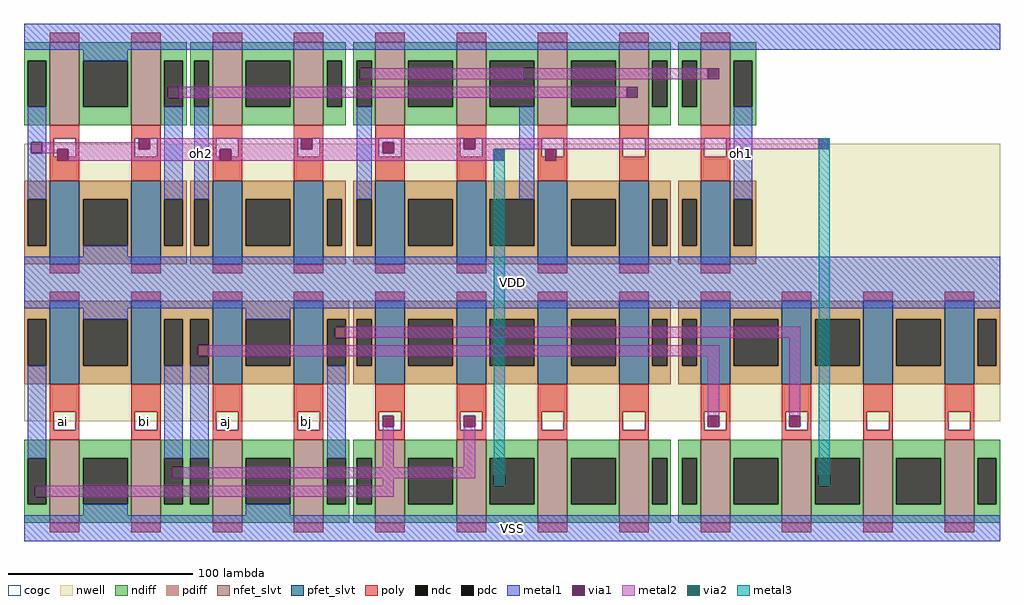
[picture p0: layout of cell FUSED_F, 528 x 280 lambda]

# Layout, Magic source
magic
tech asap5
<< nwell >>
rect 0 65 528 215
<< poly >>
rect 14 270 30 275
rect 58 270 74 275
rect 102 270 118 275
rect 146 270 162 275
rect 190 270 206 275
rect 234 270 250 275
rect 278 270 294 275
rect 322 270 338 275
rect 366 270 382 275
rect 14 218 30 225
rect 14 208 16 218
rect 18 208 24 212
rect 28 208 30 218
rect 14 195 30 208
rect 58 218 74 225
rect 58 208 60 218
rect 62 212 68 218
rect 72 208 74 218
rect 58 195 74 208
rect 102 218 118 225
rect 102 208 104 218
rect 106 208 112 212
rect 116 208 118 218
rect 102 195 118 208
rect 146 218 162 225
rect 146 208 148 218
rect 150 212 156 218
rect 160 208 162 218
rect 146 195 162 208
rect 190 218 206 225
rect 190 208 192 218
rect 194 210 200 216
rect 204 208 206 218
rect 190 195 206 208
rect 234 218 250 225
rect 234 208 236 218
rect 238 212 244 218
rect 248 208 250 218
rect 234 195 250 208
rect 278 218 294 225
rect 278 208 280 218
rect 282 208 288 212
rect 292 208 294 218
rect 278 195 294 208
rect 322 218 338 225
rect 322 208 324 218
rect 336 208 338 218
rect 322 195 338 208
rect 366 218 382 225
rect 366 208 368 218
rect 380 208 382 218
rect 366 195 382 208
rect 14 145 30 150
rect 58 145 74 150
rect 102 145 118 150
rect 146 145 162 150
rect 190 145 206 150
rect 234 145 250 150
rect 278 145 294 150
rect 322 145 338 150
rect 366 145 382 150
rect 14 130 30 135
rect 58 130 74 135
rect 102 130 118 135
rect 146 130 162 135
rect 190 130 206 135
rect 234 130 250 135
rect 278 130 294 135
rect 322 130 338 135
rect 366 130 382 135
rect 410 130 426 135
rect 454 130 470 135
rect 498 130 514 135
rect 14 70 30 85
rect 14 60 16 70
rect 28 60 30 70
rect 14 55 30 60
rect 58 70 74 85
rect 58 60 60 70
rect 72 60 74 70
rect 58 55 74 60
rect 102 70 118 85
rect 102 60 104 70
rect 116 60 118 70
rect 102 55 118 60
rect 146 70 162 85
rect 146 60 148 70
rect 160 60 162 70
rect 146 55 162 60
rect 190 70 206 85
rect 190 60 192 70
rect 194 62 200 68
rect 204 60 206 70
rect 190 55 206 60
rect 234 70 250 85
rect 234 60 236 70
rect 238 62 244 68
rect 248 60 250 70
rect 234 55 250 60
rect 278 70 294 85
rect 278 60 280 70
rect 292 60 294 70
rect 278 55 294 60
rect 322 70 338 85
rect 322 60 324 70
rect 336 60 338 70
rect 322 55 338 60
rect 366 70 382 85
rect 366 60 368 70
rect 370 62 376 68
rect 380 60 382 70
rect 366 55 382 60
rect 410 70 426 85
rect 410 60 412 70
rect 414 62 420 68
rect 424 60 426 70
rect 410 55 426 60
rect 454 70 470 85
rect 454 60 456 70
rect 468 60 470 70
rect 454 55 470 60
rect 498 70 514 85
rect 498 60 500 70
rect 512 60 514 70
rect 498 55 514 60
rect 14 5 30 10
rect 58 5 74 10
rect 102 5 118 10
rect 146 5 162 10
rect 190 5 206 10
rect 234 5 250 10
rect 278 5 294 10
rect 322 5 338 10
rect 366 5 382 10
rect 410 5 426 10
rect 454 5 470 10
rect 498 5 514 10
<< ndiff >>
rect 0 260 14 270
rect 0 235 2 260
rect 12 235 14 260
rect 0 225 14 235
rect 30 260 58 270
rect 30 235 32 260
rect 56 235 58 260
rect 30 225 58 235
rect 74 260 88 270
rect 74 235 76 260
rect 78 240 84 246
rect 86 235 88 260
rect 74 225 88 235
rect 90 260 102 270
rect 90 235 92 260
rect 100 235 102 260
rect 90 225 102 235
rect 118 260 146 270
rect 118 235 120 260
rect 144 235 146 260
rect 118 225 146 235
rect 162 260 174 270
rect 162 235 164 260
rect 172 235 174 260
rect 162 225 174 235
rect 178 260 190 270
rect 178 235 180 260
rect 188 256 190 260
rect 182 250 190 256
rect 188 235 190 250
rect 178 225 190 235
rect 206 260 234 270
rect 206 235 208 260
rect 232 235 234 260
rect 206 225 234 235
rect 250 260 278 270
rect 250 235 252 260
rect 276 256 278 260
rect 270 250 278 256
rect 276 235 278 250
rect 250 225 278 235
rect 294 260 322 270
rect 294 235 296 260
rect 320 235 322 260
rect 294 225 322 235
rect 338 260 350 270
rect 338 235 340 260
rect 348 235 350 260
rect 338 225 350 235
rect 354 260 366 270
rect 354 235 356 260
rect 364 235 366 260
rect 354 225 366 235
rect 382 260 396 270
rect 382 235 384 260
rect 394 235 396 260
rect 382 225 396 235
rect 0 45 14 55
rect 0 20 2 45
rect 12 30 14 45
rect 6 24 14 30
rect 12 20 14 24
rect 0 10 14 20
rect 30 45 58 55
rect 30 20 32 45
rect 56 20 58 45
rect 30 10 58 20
rect 74 45 102 55
rect 74 20 76 45
rect 86 40 90 45
rect 80 34 90 40
rect 86 20 90 34
rect 100 20 102 45
rect 74 10 102 20
rect 118 45 146 55
rect 118 20 120 45
rect 144 20 146 45
rect 118 10 146 20
rect 162 45 176 55
rect 162 20 164 45
rect 174 20 176 45
rect 162 10 176 20
rect 178 45 190 55
rect 178 20 180 45
rect 188 20 190 45
rect 178 10 190 20
rect 206 45 234 55
rect 206 20 208 45
rect 232 20 234 45
rect 206 10 234 20
rect 250 45 278 55
rect 250 20 252 45
rect 254 30 260 36
rect 276 20 278 45
rect 250 10 278 20
rect 294 45 322 55
rect 294 20 296 45
rect 320 20 322 45
rect 294 10 322 20
rect 338 45 350 55
rect 338 20 340 45
rect 348 20 350 45
rect 338 10 350 20
rect 354 45 366 55
rect 354 20 356 45
rect 364 20 366 45
rect 354 10 366 20
rect 382 45 410 55
rect 382 20 384 45
rect 408 20 410 45
rect 382 10 410 20
rect 426 45 454 55
rect 426 20 428 45
rect 430 30 436 36
rect 452 20 454 45
rect 426 10 454 20
rect 470 45 498 55
rect 470 20 472 45
rect 496 20 498 45
rect 470 10 498 20
rect 514 45 528 55
rect 514 20 516 45
rect 526 20 528 45
rect 514 10 528 20
<< pdiff >>
rect 0 185 14 195
rect 0 160 2 185
rect 12 160 14 185
rect 0 150 14 160
rect 30 185 58 195
rect 30 160 32 185
rect 56 160 58 185
rect 30 150 58 160
rect 74 185 88 195
rect 74 160 76 185
rect 86 160 88 185
rect 74 150 88 160
rect 90 185 102 195
rect 90 160 92 185
rect 100 160 102 185
rect 90 150 102 160
rect 118 185 146 195
rect 118 160 120 185
rect 144 160 146 185
rect 118 150 146 160
rect 162 185 174 195
rect 162 160 164 185
rect 172 160 174 185
rect 162 150 174 160
rect 178 185 190 195
rect 178 160 180 185
rect 188 160 190 185
rect 178 150 190 160
rect 206 185 234 195
rect 206 160 208 185
rect 232 160 234 185
rect 206 150 234 160
rect 250 185 278 195
rect 250 160 252 185
rect 276 160 278 185
rect 250 150 278 160
rect 294 185 322 195
rect 294 160 296 185
rect 320 160 322 185
rect 294 150 322 160
rect 338 185 350 195
rect 338 160 340 185
rect 348 160 350 185
rect 338 150 350 160
rect 354 185 366 195
rect 354 160 356 185
rect 364 160 366 185
rect 354 150 366 160
rect 382 185 396 195
rect 382 160 384 185
rect 394 160 396 185
rect 382 150 396 160
rect 0 120 14 130
rect 0 95 2 120
rect 12 95 14 120
rect 0 85 14 95
rect 30 120 58 130
rect 30 95 32 120
rect 56 95 58 120
rect 30 85 58 95
rect 74 120 102 130
rect 74 95 76 120
rect 86 95 90 120
rect 100 106 102 120
rect 94 100 102 106
rect 100 95 102 100
rect 74 85 102 95
rect 118 120 146 130
rect 118 95 120 120
rect 144 95 146 120
rect 118 85 146 95
rect 162 120 176 130
rect 162 95 164 120
rect 174 116 176 120
rect 168 110 176 116
rect 174 95 176 110
rect 162 85 176 95
rect 178 120 190 130
rect 178 95 180 120
rect 188 95 190 120
rect 178 85 190 95
rect 206 120 234 130
rect 206 95 208 120
rect 232 95 234 120
rect 206 85 234 95
rect 250 120 278 130
rect 250 95 252 120
rect 276 95 278 120
rect 250 85 278 95
rect 294 120 322 130
rect 294 95 296 120
rect 320 95 322 120
rect 294 85 322 95
rect 338 120 350 130
rect 338 95 340 120
rect 348 95 350 120
rect 338 85 350 95
rect 354 120 366 130
rect 354 95 356 120
rect 364 95 366 120
rect 354 85 366 95
rect 382 120 410 130
rect 382 95 384 120
rect 408 95 410 120
rect 382 85 410 95
rect 426 120 454 130
rect 426 95 428 120
rect 452 95 454 120
rect 426 85 454 95
rect 470 120 498 130
rect 470 95 472 120
rect 496 95 498 120
rect 470 85 498 95
rect 514 120 528 130
rect 514 95 516 120
rect 526 95 528 120
rect 514 85 528 95
<< nfet_slvt >>
rect 14 225 30 270
rect 58 225 74 270
rect 102 225 118 270
rect 146 225 162 270
rect 190 225 206 270
rect 234 225 250 270
rect 278 225 294 270
rect 322 225 338 270
rect 366 225 382 270
rect 14 10 30 55
rect 58 10 74 55
rect 102 10 118 55
rect 146 10 162 55
rect 190 10 206 55
rect 234 10 250 55
rect 278 10 294 55
rect 322 10 338 55
rect 366 10 382 55
rect 410 10 426 55
rect 454 10 470 55
rect 498 10 514 55
<< pfet_slvt >>
rect 14 150 30 195
rect 58 150 74 195
rect 102 150 118 195
rect 146 150 162 195
rect 190 150 206 195
rect 234 150 250 195
rect 278 150 294 195
rect 322 150 338 195
rect 366 150 382 195
rect 14 85 30 130
rect 58 85 74 130
rect 102 85 118 130
rect 146 85 162 130
rect 190 85 206 130
rect 234 85 250 130
rect 278 85 294 130
rect 322 85 338 130
rect 366 85 382 130
rect 410 85 426 130
rect 454 85 470 130
rect 498 85 514 130
<< metal1 >>
rect 0 266 528 280
rect 32 260 56 266
rect 2 216 12 235
rect 2 210 4 216
rect 10 210 12 216
rect 2 185 12 210
rect 76 185 86 235
rect 92 185 100 235
rect 180 185 188 235
rect 268 185 276 235
rect 384 185 394 235
rect 32 154 56 160
rect 0 126 528 154
rect 32 120 56 126
rect 120 120 144 126
rect 2 45 12 95
rect 76 45 86 95
rect 90 45 100 95
rect 164 45 174 95
rect 254 30 260 36
rect 430 30 436 36
rect 32 14 56 20
rect 120 14 144 20
rect 0 0 528 14
<< cogc >>
rect 16 212 28 218
rect 16 208 18 212
rect 24 208 28 212
rect 60 212 62 218
rect 68 212 72 218
rect 60 208 72 212
rect 104 212 116 218
rect 104 208 106 212
rect 112 208 116 212
rect 148 212 150 218
rect 156 212 160 218
rect 148 208 160 212
rect 192 216 204 218
rect 192 210 194 216
rect 200 210 204 216
rect 192 208 204 210
rect 236 212 238 218
rect 244 212 248 218
rect 236 208 248 212
rect 280 212 292 218
rect 280 208 282 212
rect 288 208 292 212
rect 324 208 336 218
rect 368 208 380 218
rect 16 60 28 70
rect 60 60 72 70
rect 104 60 116 70
rect 148 60 160 70
rect 192 68 204 70
rect 192 62 194 68
rect 200 62 204 68
rect 192 60 204 62
rect 236 68 248 70
rect 236 62 238 68
rect 244 62 248 68
rect 236 60 248 62
rect 280 60 292 70
rect 324 60 336 70
rect 368 68 380 70
rect 368 62 370 68
rect 376 62 380 68
rect 368 60 380 62
rect 412 68 424 70
rect 412 62 414 68
rect 420 62 424 68
rect 412 60 424 62
rect 456 60 468 70
rect 500 60 512 70
<< ndc >>
rect 2 235 12 260
rect 32 235 56 260
rect 76 246 86 260
rect 76 240 78 246
rect 84 240 86 246
rect 76 235 86 240
rect 92 235 100 260
rect 120 235 144 260
rect 164 235 172 260
rect 180 256 188 260
rect 180 250 182 256
rect 180 235 188 250
rect 208 235 232 260
rect 252 256 276 260
rect 252 250 270 256
rect 252 235 276 250
rect 296 235 320 260
rect 340 235 348 260
rect 356 235 364 260
rect 384 235 394 260
rect 2 30 12 45
rect 2 24 6 30
rect 2 20 12 24
rect 32 20 56 45
rect 76 40 86 45
rect 76 34 80 40
rect 76 20 86 34
rect 90 20 100 45
rect 120 20 144 45
rect 164 20 174 45
rect 180 20 188 45
rect 208 20 232 45
rect 252 36 276 45
rect 252 30 254 36
rect 260 30 276 36
rect 252 20 276 30
rect 296 20 320 45
rect 340 20 348 45
rect 356 20 364 45
rect 384 20 408 45
rect 428 36 452 45
rect 428 30 430 36
rect 436 30 452 36
rect 428 20 452 30
rect 472 20 496 45
rect 516 20 526 45
<< pdc >>
rect 2 160 12 185
rect 32 160 56 185
rect 76 160 86 185
rect 92 160 100 185
rect 120 160 144 185
rect 164 160 172 185
rect 180 160 188 185
rect 208 160 232 185
rect 252 160 276 185
rect 296 160 320 185
rect 340 160 348 185
rect 356 160 364 185
rect 384 160 394 185
rect 2 95 12 120
rect 32 95 56 120
rect 76 95 86 120
rect 90 106 100 120
rect 90 100 94 106
rect 90 95 100 100
rect 120 95 144 120
rect 164 116 174 120
rect 164 110 168 116
rect 164 95 174 110
rect 180 95 188 120
rect 208 95 232 120
rect 252 95 276 120
rect 296 95 320 120
rect 340 95 348 120
rect 356 95 364 120
rect 384 95 408 120
rect 428 95 452 120
rect 472 95 496 120
rect 516 95 526 120
<< metal2 >>
rect 188 250 270 256
rect 276 250 370 256
rect 84 240 326 246
rect 10 212 62 216
rect 68 212 150 218
rect 156 216 238 218
rect 156 212 194 216
rect 10 210 18 212
rect 24 206 106 212
rect 112 210 194 212
rect 200 212 238 216
rect 244 212 430 218
rect 200 210 254 212
rect 112 206 254 210
rect 174 110 420 116
rect 100 100 376 106
rect 370 68 376 100
rect 194 40 200 62
rect 414 68 420 110
rect 238 40 244 62
rect 86 34 244 40
rect 194 30 200 34
rect 12 24 200 30
<< via1 >>
rect 182 250 188 256
rect 270 250 276 256
rect 370 250 376 256
rect 78 240 84 246
rect 326 240 332 246
rect 4 210 10 216
rect 62 212 68 218
rect 150 212 156 218
rect 18 206 24 212
rect 106 206 112 212
rect 194 210 200 216
rect 238 212 244 218
rect 430 212 436 218
rect 254 206 260 212
rect 282 206 288 212
rect 168 110 174 116
rect 94 100 100 106
rect 194 62 200 68
rect 238 62 244 68
rect 370 62 376 68
rect 414 62 420 68
rect 80 34 86 40
rect 6 24 12 30
<< metal3 >>
rect 254 36 260 212
rect 430 36 436 218
<< via2 >>
rect 254 30 260 36
rect 430 30 436 36
<< labels >>
flabel cogc 18 65 24 65 1 FreeSerif 1 0 0 0 ai
flabel cogc 62 65 68 65 1 FreeSerif 1 0 0 0 bi
flabel cogc 106 65 112 65 1 FreeSerif 1 0 0 0 aj
flabel cogc 150 65 156 65 1 FreeSerif 1 0 0 0 bj
flabel metal1 388 210 388 210 1 FreeSerif 1 0 0 0 oh1
flabel metal2 96 210 96 210 1 FreeSerif 1 0 0 0 oh2
flabel metal1 264 7 264 7 1 FreeSerif 1 0 0 0 VSS
flabel metal1 264 140 264 140 1 FreeSerif 1 0 0 0 VDD
<< end >>
